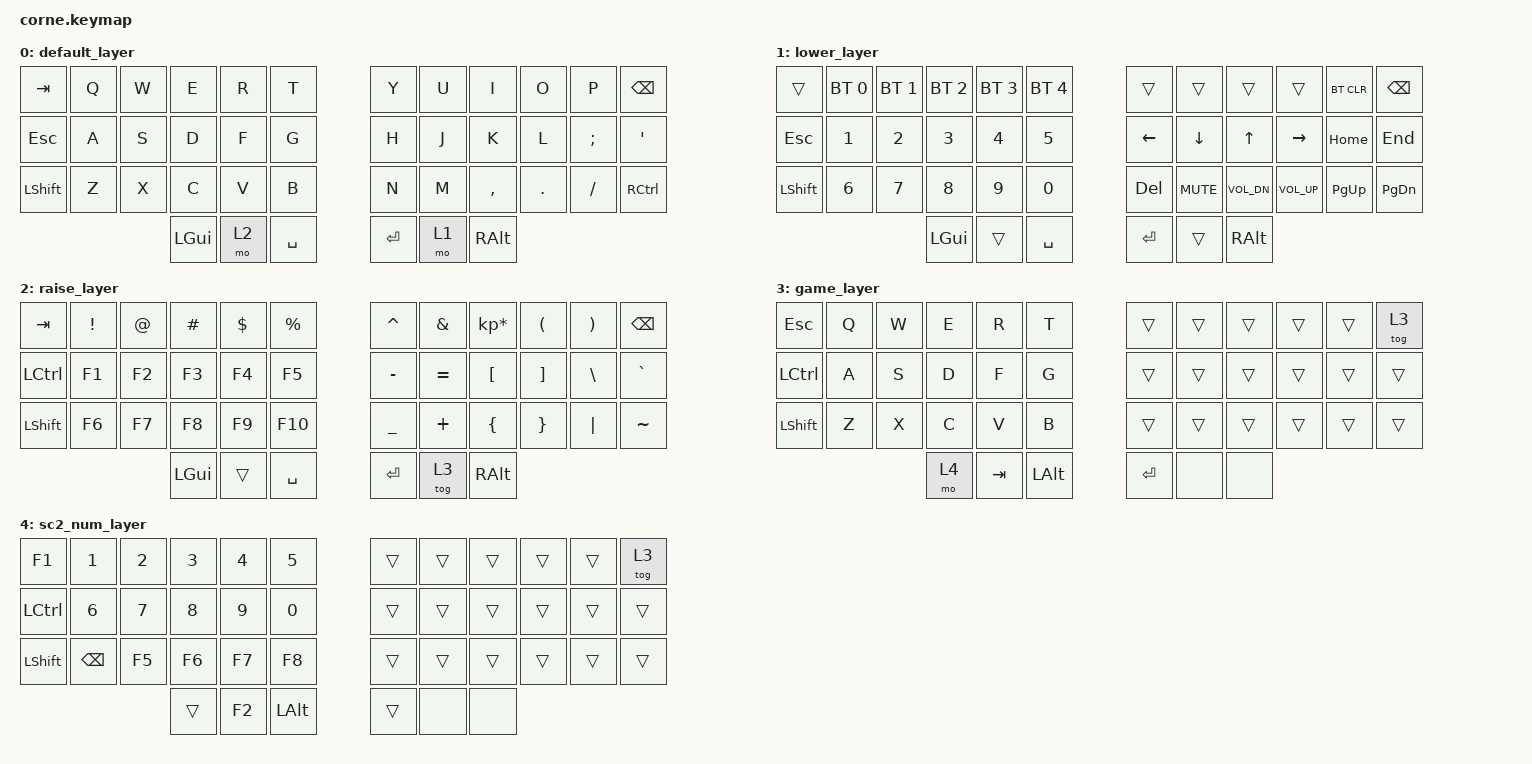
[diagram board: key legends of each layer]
/*
 * Copyright (c) 2020 The ZMK Contributors
 *
 * SPDX-License-Identifier: MIT
 */

#include <behaviors.dtsi>
#include <dt-bindings/zmk/keys.h>
#include <dt-bindings/zmk/bt.h>

/ {
        keymap {
                compatible = "zmk,keymap";

                default_layer {
// -----------------------------------------------------------------------------------------
// |  TAB |  Q  |  W  |  E  |  R  |  T  |   |  Y  |  U   |  I  |  O  |  P  | BKSP |
// | ESC  |  A  |  S  |  D  |  F  |  G  |   |  H  |  J   |  K  |  L  |  ;  |  '   |
// | SHFT |  Z  |  X  |  C  |  V  |  B  |   |  N  |  M   |  ,  |  .  |  /  | CTRL |
//                    | GUI | RSE | ENT |   | SPC | LWR  | ALT |
                        bindings = <
   &kp TAB   &kp Q &kp W &kp E &kp R &kp T   &kp Y &kp U  &kp I     &kp O   &kp P    &kp BSPC
   &kp ESC   &kp A &kp S &kp D &kp F &kp G   &kp H &kp J  &kp K     &kp L   &kp SEMI &kp SQT
   &kp LSHFT &kp Z &kp X &kp C &kp V &kp B   &kp N &kp M  &kp COMMA &kp DOT &kp FSLH &kp RCTRL
                   &kp LGUI &mo 2 &kp SPACE    &kp RET &mo 1 &kp RALT
                        >;
                };

                lower_layer {
// -----------------------------------------------------------------------------------------
// |      | BT1 | BT2 | BT3 | BT4 | BT5 |   |     |     |     |     | BLCLR | BKSP |
// |  ESC |  1  |  2  |  3  |  4  |  5  |   | LFT | DWN |  UP | RGT | HOME  | END  |
// | SHFT |  6  |  7  |  8  |  9  |  0  |   | DEL | MT  | VDN | VUP | PGUP  | PGDN |
//                    | GUI |     | ENT |   | SPC |     | ALT |
                        bindings = <
   &trans     &bt BT_SEL 0 &bt BT_SEL 1 &bt BT_SEL 2 &bt BT_SEL 3 &bt BT_SEL 4   &trans    &trans     &trans       &trans       &bt BT_CLR     &kp BSPC
   &kp ESC    &kp N1       &kp N2       &kp N3       &kp N4       &kp N5         &kp LEFT  &kp DOWN   &kp UP       &kp RIGHT    &kp HOME       &kp END
   &kp LSHFT  &kp N6       &kp N7       &kp N8       &kp N9       &kp N0         &kp DEL   &kp C_MUTE &kp C_VOL_DN &kp C_VOL_UP &kp PG_UP      &kp PG_DN
                                        &kp LGUI &trans &kp SPACE                  &kp RET &trans &kp RALT
                        >;
                };

                raise_layer {
// -----------------------------------------------------------------------------------------
// |  TAB |  !  |  @  |  #  |  $  |  %  |   |  ^  |  &  |  *  |  (  |  )  | BKSP |
// | CTRL |  F1 |  F2 |  F3 |  F4 |  F5 |   |  -  |  =  |  [  |  ]  |  \  |  `   |
// | SHFT |  F6 |  F7 |  F8 |  F9 | F10 |   |  _  |  +  |  {  |  }  | "|" |  ~   |
//                    | GUI |     | ENT |   | SPC | TOG | ALT |
                        bindings = <
   &kp  TAB  &kp EXCL &kp AT &kp HASH &kp DLLR &kp PRCNT   &kp CARET &kp AMPS  &kp KP_MULTIPLY &kp LPAR &kp RPAR &kp BSPC
   &kp LCTRL &kp F1   &kp F2 &kp F3   &kp F4   &kp F5      &kp MINUS &kp EQUAL &kp LBKT        &kp RBKT &kp BSLH &kp GRAVE
   &kp LSHFT &kp F6   &kp F7 &kp F8   &kp F9   &kp F10     &kp UNDER &kp PLUS  &kp LBRC        &kp RBRC &kp PIPE &kp TILDE
                             &kp LGUI &trans   &kp SPACE     &kp RET &tog 3 &kp RALT
                        >;
                };

                game_layer {
// -----------------------------------------------------------------------------------------
// | ESC  |  Q  |  W  |  E  |  R  |  T  |   |     |     |     |     |     | TOGL |
// | CTRL |  A  |  S  |  D  |  F  |  G  |   |     |     |     |     |     |      |
// | SHFT |  Z  |  X  |  C  |  V  |  B  |   |     |     |     |     |     |      |
//                    | L4  | TAB | ALT |   | ENT |     |     |
                        bindings = <
   &kp ESC   &kp Q &kp W &kp E &kp R &kp T   &trans &trans &trans &trans &trans &tog 3
   &kp LCTRL &kp A &kp S &kp D &kp F &kp G   &trans &trans &trans &trans &trans &trans
   &kp LSHFT &kp Z &kp X &kp C &kp V &kp B   &trans &trans &trans &trans &trans &trans
              &mo 4 &kp TAB &kp LALT   &kp RET &none &none
                        >;
                };

                sc2_num_layer {
// -----------------------------------------------------------------------------------------
// |  F1  |  1  |  2  |  3  |  4  |  5  |   |     |     |     |     |     | TOGL |
// | CTRL |  6  |  7  |  8  |  9  |  0  |   |     |     |     |     |     |      |
// | SHFT | BKSP|  F5 |  F6 |  F7 |  F8 |   |     |     |     |     |     |      |
//                    |     |  F2 | ALT |   |     |     |     |
                        bindings = <
   &kp F1    &kp N1   &kp N2 &kp N3 &kp N4 &kp N5   &trans &trans &trans &trans &trans &tog 3
   &kp LCTRL &kp N6   &kp N7 &kp N8 &kp N9 &kp N0   &trans &trans &trans &trans &trans &trans
   &kp LSHFT &kp BSPC &kp F5 &kp F6 &kp F7 &kp F8   &trans &trans &trans &trans &trans &trans
                       &trans &kp F2 &kp LALT          &trans &none &none
                        >;
                };
        };
};
